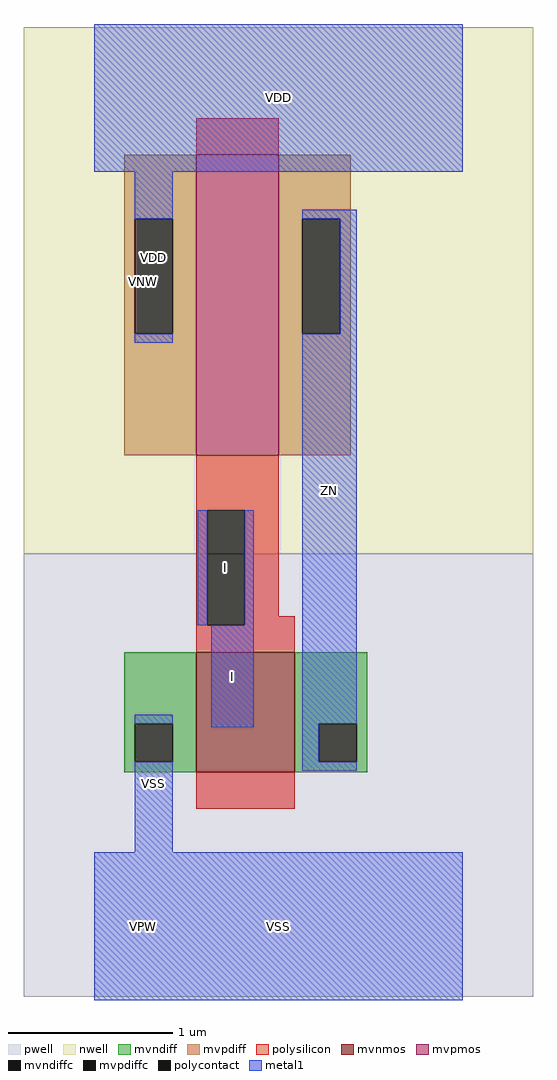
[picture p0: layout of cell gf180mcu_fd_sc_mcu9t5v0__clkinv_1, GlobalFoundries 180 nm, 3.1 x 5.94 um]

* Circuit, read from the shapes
.subckt gf180mcu_fd_sc_mcu9t5v0__clkinv_1 I ZN VDD VNW VPW VSS
XM1 ZN I VSS VPW nfet_06v0 w=0.73u l=0.6u
XM2 ZN I VDD VNW pfet_06v0 w=1.83u l=0.5u
.ends

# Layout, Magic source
magic
tech gf180mcuD
magscale 1 10
<< nwell >>
rect -86 453 534 1094
<< pwell >>
rect -86 -86 534 453
<< mvnmos >>
rect 124 187 244 333
<< mvpmos >>
rect 124 573 224 939
<< mvndiff >>
rect 36 246 124 333
rect 36 200 49 246
rect 95 200 124 246
rect 36 187 124 200
rect 244 246 332 333
rect 244 200 273 246
rect 319 200 332 246
rect 244 187 332 200
<< mvpdiff >>
rect 36 861 124 939
rect 36 721 49 861
rect 95 721 124 861
rect 36 573 124 721
rect 224 861 312 939
rect 224 721 253 861
rect 299 721 312 861
rect 224 573 312 721
<< mvndiffc >>
rect 49 200 95 246
rect 273 200 319 246
<< mvpdiffc >>
rect 49 721 95 861
rect 253 721 299 861
<< polysilicon >>
rect 124 939 224 983
rect 124 506 224 573
rect 124 366 137 506
rect 183 377 224 506
rect 183 366 244 377
rect 124 333 244 366
rect 124 143 244 187
<< polycontact >>
rect 137 366 183 506
<< metal1 >>
rect 0 918 448 1098
rect 49 861 95 918
rect 49 710 95 721
rect 253 861 319 872
rect 299 721 319 861
rect 126 366 137 506
rect 183 366 194 506
rect 49 246 95 257
rect 142 242 194 366
rect 253 246 319 721
rect 49 90 95 200
rect 253 200 273 246
rect 253 189 319 200
rect 0 -90 448 90
<< labels >>
flabel metal1 s 126 366 194 506 0 FreeSans 200 0 0 0 I
port 1 nsew default input
flabel metal1 s 0 918 448 1098 0 FreeSans 200 0 0 0 VDD
port 3 nsew power bidirectional abutment
flabel metal1 s 49 90 95 257 0 FreeSans 200 0 0 0 VSS
port 6 nsew ground bidirectional abutment
flabel metal1 s 253 189 319 872 0 FreeSans 200 0 0 0 ZN
port 2 nsew default output
flabel nwell s 10 734 110 834 0 FreeSans 400 0 0 0 VNW
port 4 nsew power bidirectional
flabel pwell s 10 -50 110 50 0 FreeSans 400 0 0 0 VPW
port 5 nsew ground bidirectional
rlabel metal1 s 142 242 194 366 1 I
port 1 nsew default input
rlabel metal1 s 49 710 95 918 1 VDD
port 3 nsew power bidirectional abutment
rlabel metal1 s 0 -90 448 90 1 VSS
port 6 nsew ground bidirectional abutment
<< properties >>
string FIXED_BBOX 0 0 448 1008
string GDS_END 1443454
string GDS_FILE $PDKPATH/libs.ref/gf180mcu_fd_sc_mcu9t5v0/gds/gf180mcu_fd_sc_mcu9t5v0.gds
string GDS_START 1441240
string LEFclass core
string LEFsite GF018hv5v_green_sc9
string LEFsymmetry X Y
<< end >>
